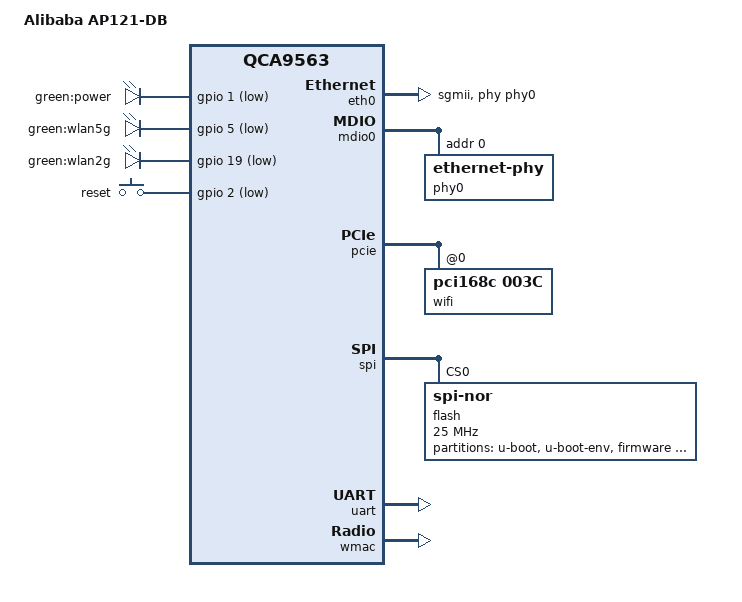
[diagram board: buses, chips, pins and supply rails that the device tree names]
// SPDX-License-Identifier: GPL-2.0-or-later OR MIT
/dts-v1/;

#include <dt-bindings/gpio/gpio.h>
#include <dt-bindings/input/input.h>

#include "qca956x.dtsi"

/ {
	model = "Alibaba AP121-DB";
	compatible = "alibaba,ap121-db", "qca,qca9563";

	aliases {
		label-mac-device = &eth0;
		led-boot = &led_power;
		led-failsafe = &led_power;
		led-running = &led_power;
		led-upgrade = &led_power;
	};

	leds {
		compatible = "gpio-leds";

		led_power: power {
			label = "green:power";
			gpios = <&gpio 1 GPIO_ACTIVE_LOW>;
			default-state = "on";
		};

		wlan5g {
			label = "green:wlan5g";
			gpios = <&gpio 5 GPIO_ACTIVE_LOW>;
			linux,default-trigger = "phy0tpt";
		};

		wlan2g {
			label = "green:wlan2g";
			gpios = <&gpio 19 GPIO_ACTIVE_LOW>;
			linux,default-trigger = "phy1tpt";
		};
	};

	keys {
		compatible = "gpio-keys";

		reset {
			label = "reset";
			gpios = <&gpio 2 GPIO_ACTIVE_LOW>;
			linux,code = <KEY_RESTART>;
		};
	};
};

&eth0 {
	mtd-mac-address = <&art 0x0>;

	phy-handle = <&phy0>;
	phy-mode = "sgmii";
	pll-data = <0x03000101 0x00000101 0x00001919>;

	status = "okay";
};

&mdio0 {
	status = "okay";

	phy0: ethernet-phy@0 {
		reg = <0>;

		qca,ar8327-initvals = <
			0x04 0x00000080 /* PORT0 PAD MODE CTRL */
			0x50 0xcc35cc35 /* LED_CTRL0 */
			0x54 0xca35ca35 /* LED_CTRL1 */
			0x58 0xc935c935 /* LED_CTRL2 */
			0x5c 0x03ffff00 /* LED_CTRL3 */
			0x7c 0x0000007e /* PORT0_STATUS */
		>;
	};
};

&pcie {
	status = "okay";

	wifi@0,0 {
		compatible = "pci168c,003c";
		reg = <0x0000 0 0 0 0>;
	};
};

&spi {
	num-cs = <1>;
	status = "okay";

	flash@0 {
		compatible = "jedec,spi-nor";
		reg = <0>;
		spi-max-frequency = <25000000>;

		partitions {
			compatible = "fixed-partitions";
			#address-cells = <1>;
			#size-cells = <1>;

			partition@0 {
				label = "u-boot";
				reg = <0x000000 0x040000>;
				read-only;
			};

			partition@40000 {
				label = "u-boot-env";
				reg = <0x040000 0x010000>;
			};

			partition@50000 {
				compatible = "denx,uimage";
				label = "firmware";
				reg = <0x050000 0xfa0000>;
			};

			art: partition@ff0000 {
				label = "art";
				reg = <0xff0000 0x010000>;
				read-only;
			};
		};
	};
};

&uart {
	status = "okay";
};

&wmac {
	status = "okay";

	mtd-cal-data = <&art 0x1000>;
	mtd-mac-address = <&art 0xc>;
};
